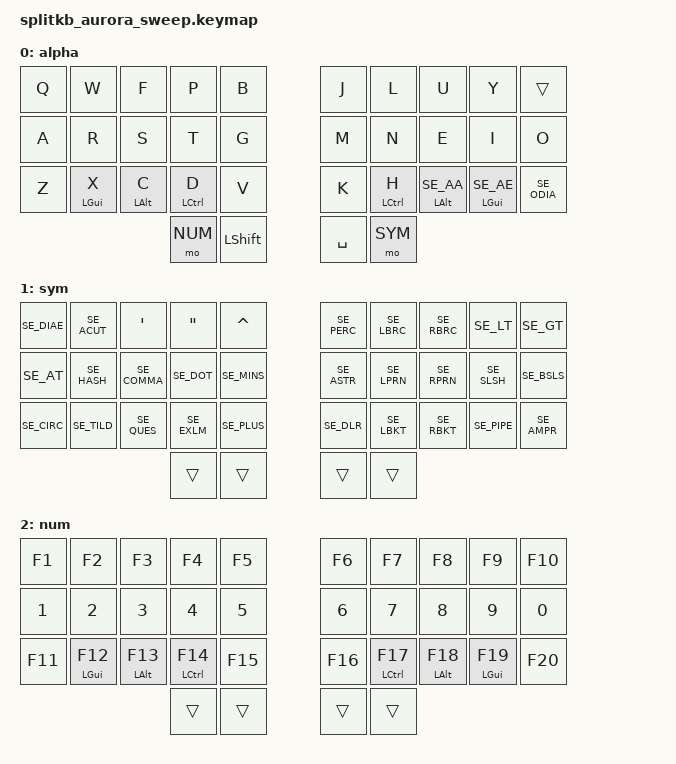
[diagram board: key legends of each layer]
#define HOST_OS 2

#include <behaviors.dtsi>
#include <dt-bindings/zmk/keys.h>
#include <dt-bindings/zmk/bt.h>

#include "keymap-swedish.h"
#include "../zmk-nodefree-config/helper.h"
#include "../zmk-nodefree-config/keypos_def/keypos_36keys.h"
#include "../zmk-nodefree-config/international_chars/swedish.dtsi"

/* layer and key shortcuts */

#define ___ &trans

#define ALPHA  0  // layer shortcuts, must match order in which they are defined below 
#define SYM 1
#define NUM 2

/* custom behaviors */

// homerow mods
ZMK_BEHAVIOR(hrm, hold_tap,
    flavor = "tap-preferred";
    tapping-term-ms = <280>;
    quick-tap-ms = <125>;
    global-quick-tap;
    bindings = <&kp>, <&kp>;
)

ZMK_BEHAVIOR(hrm_ao, hold_tap,
    flavor = "balanced";
    tapping-term-ms = <280>;
    quick-tap-ms = <125>;
    global-quick-tap;
    bindings = <&kp>, <&sv_ao>;
)

ZMK_BEHAVIOR(hrm_ae, hold_tap,
    flavor = "balanced";
    tapping-term-ms = <280>;
    quick-tap-ms = <125>;
    global-quick-tap;
    bindings = <&kp>, <&sv_ae>;
)

// tap: sticky shift | double tap: capsword
ZMK_BEHAVIOR(ss_cw, tap_dance,
    tapping-term-ms = <200>;
    bindings = <&sk LSHFT>, <&caps_word>;
)

// tap: backspace | shift + tap: delete | hold: num layer
ZMK_BEHAVIOR(bs_del_num, mod_morph,
    bindings = <&lt NUM BSPC>, <&kp DEL>;
    mods = <(MOD_LSFT|MOD_RSFT)>;
)

// windows sleep macro
ZMK_BEHAVIOR(win_sleep, macro,
    wait-ms = <100>;
    tap-ms = <5>;
    bindings = <&kp LG(X) &kp U &kp S>;
)

// euro sign
ZMK_UNICODE_SINGLE(euro_sign, N2, N0, A, C)  // €

// replace a/o/u/s with German umlauts when NAV and NUM are held jointly
// ZMK_CONDITIONAL_LAYER(NAV NUM)

// combos
#undef COMBO_TERM
#define COMBO_TERM 60  // (default is 30ms if omitted)
//ZMK_COMBO(combo_copy,    &kp LC(C),     LB2 LB3, ALL)  // Ctrl + C, active on all layers
//ZMK_COMBO(combo_paste,   &kp LC(V),     LB1 LB2, ALL)  // Ctrl + V, active on all layers

ZMK_COMBO(combo_escape,  &kp ESC,       LM4 LM3, ALL)
ZMK_COMBO(combo_return,  &kp RET,       LM2 LM1, ALL)
ZMK_COMBO(combo_tab,     &kp TAB,       LM3 LM2, ALL)
ZMK_COMBO(combo_bspc,    &kp BSPC,      LM2 LT1, ALL)
ZMK_COMBO(combo_del,     &kp DEL,       LT2 LM1, ALL)

// navigation
ZMK_COMBO(combo_up,      &kp UP,        RT1 RT2,         ALL)
ZMK_COMBO(combo_down,    &kp DOWN,      RM1 RM2,         ALL)
ZMK_COMBO(combo_left,    &kp LEFT,      RM1 RT2,         ALL)
ZMK_COMBO(combo_right,   &kp RIGHT,     RT1 RM2,         ALL)
ZMK_COMBO(combo_pgup,    &kp PG_UP,     RT1 RT2 RT3,     ALL)
ZMK_COMBO(combo_pgdn,    &kp PG_DN,     RM1 RM2 RM3,     ALL)
ZMK_COMBO(combo_home,    &kp HOME,      RT1 RT2 RT3 RT4, ALL)
ZMK_COMBO(combo_end,     &kp END,       RM1 RM2 RM3 RM4, ALL)

// bluetooth
ZMK_COMBO(combo_next_bt, &bt BT_NXT,    RT4 RM4 RB4,               ALL)
ZMK_COMBO(combo_prev_bt, &bt BT_PRV,    LT4 LM4 LB4,               ALL)
ZMK_COMBO(combo_clr_bt,  &bt BT_CLR,    LT4 LM4 LB4 RT4 RM4 RB4,   ALL)

/* keymap */

ZMK_LAYER(alpha,
     // ╭─────────────┬─────────────┬─────────────┬─────────────┬─────────────╮   ╭─────────────┬─────────────┬───────────────┬───────────────┬─────────────╮
         &kp Q         &kp W         &kp F         &kp P         &kp B             &kp J         &kp L         &kp U           &kp Y            ___
     // ├─────────────┼─────────────┼─────────────┼─────────────┼─────────────┤   ├─────────────┼─────────────┼───────────────┼───────────────┼─────────────┤
         &kp A         &kp R         &kp S         &kp T         &kp G             &kp M         &kp N         &kp E           &kp I           &kp O
     // ├─────────────┼─────────────┼─────────────┼─────────────┼─────────────┤   ├─────────────┼─────────────┼───────────────┼───────────────┼─────────────┤
         &kp Z         &hrm LGUI X   &hrm LALT C   &hrm LCTRL D  &kp V             &kp K         &hrm LCTRL H  &hrm LALT SE_AA &hrm LGUI SE_AE &kp SE_ODIA      
     // ╰─────────────┴─────────────┴─────────────┼─────────────┼─────────────┤   ├─────────────┼─────────────┼───────────────┴───────────────┴─────────────╯
                                                   &mo NUM       &kp LSHFT         &kp SPACE     &mo SYM         
     //                                           ╰─────────────┴─────────────╯   ╰─────────────┴─────────────╯ 
)

ZMK_LAYER(sym,
     // ╭─────────────┬─────────────┬─────────────┬─────────────┬─────────────╮   ╭─────────────┬─────────────┬─────────────┬─────────────┬─────────────╮
         &kp SE_DIAE   &kp SE_ACUT   &kp SQT       &kp DQT       &kp CARET         &kp SE_PERC   &kp SE_LBRC   &kp SE_RBRC   &kp SE_LT     &kp SE_GT
     // ├─────────────┼─────────────┼─────────────┼─────────────┼─────────────┤   ├─────────────┼─────────────┼─────────────┼─────────────┼─────────────┤
         &kp SE_AT     &kp SE_HASH   &kp SE_COMMA  &kp SE_DOT    &kp SE_MINS       &kp SE_ASTR   &kp SE_LPRN   &kp SE_RPRN   &kp SE_SLSH   &kp SE_BSLS
     // ├─────────────┼─────────────┼─────────────┼─────────────┼─────────────┤   ├─────────────┼─────────────┼─────────────┼─────────────┼─────────────┤
         &kp SE_CIRC   &kp SE_TILD   &kp SE_QUES   &kp SE_EXLM   &kp SE_PLUS       &kp SE_DLR    &kp SE_LBKT   &kp SE_RBKT   &kp SE_PIPE   &kp SE_AMPR
     // ╰─────────────┴─────────────┴─────────────┼─────────────┼─────────────┤   ├─────────────┼─────────────┼─────────────┴─────────────┴─────────────╯
                                                    ___           ___               ___           ___
     //                                           ╰─────────────┴─────────────╯   ╰─────────────┴─────────────╯
)

ZMK_LAYER(num,
     // ╭─────────────┬─────────────┬─────────────┬──────────────┬─────────────╮   ╭─────────────┬──────────────┬─────────────┬─────────────┬─────────────╮
         &kp F1        &kp F2        &kp F3        &kp F4         &kp F5            &kp F6        &kp F7         &kp F8        &kp F9        &kp F10        
     // ├─────────────┼─────────────┼─────────────┼──────────────┼─────────────┤   ├─────────────┼──────────────┼─────────────┼─────────────┼─────────────┤
         &kp N1        &kp N2        &kp N3        &kp N4         &kp N5            &kp N6        &kp N7         &kp N8        &kp N9        &kp N0
     // ├─────────────┼─────────────┼─────────────┼──────────────┼─────────────┤   ├─────────────┼──────────────┼─────────────┼─────────────┼─────────────┤
         &kp F11       &hrm LGUI F12 &hrm LALT F13 &hrm LCTRL F14 &kp F15           &kp F16       &hrm LCTRL F17 &hrm LALT F18 &hrm LGUI F19 &kp F20
     // ╰─────────────┴─────────────┴─────────────┼──────────────┼─────────────┤   ├─────────────┼──────────────┼─────────────┴─────────────┴─────────────╯
                                                    ___            ___               ___           ___
     //                                           ╰──────────────┴─────────────╯   ╰─────────────┴─────────────╯
)

&nice_view_spi {
    cs-gpios = <&pro_micro 0 GPIO_ACTIVE_HIGH>;
};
